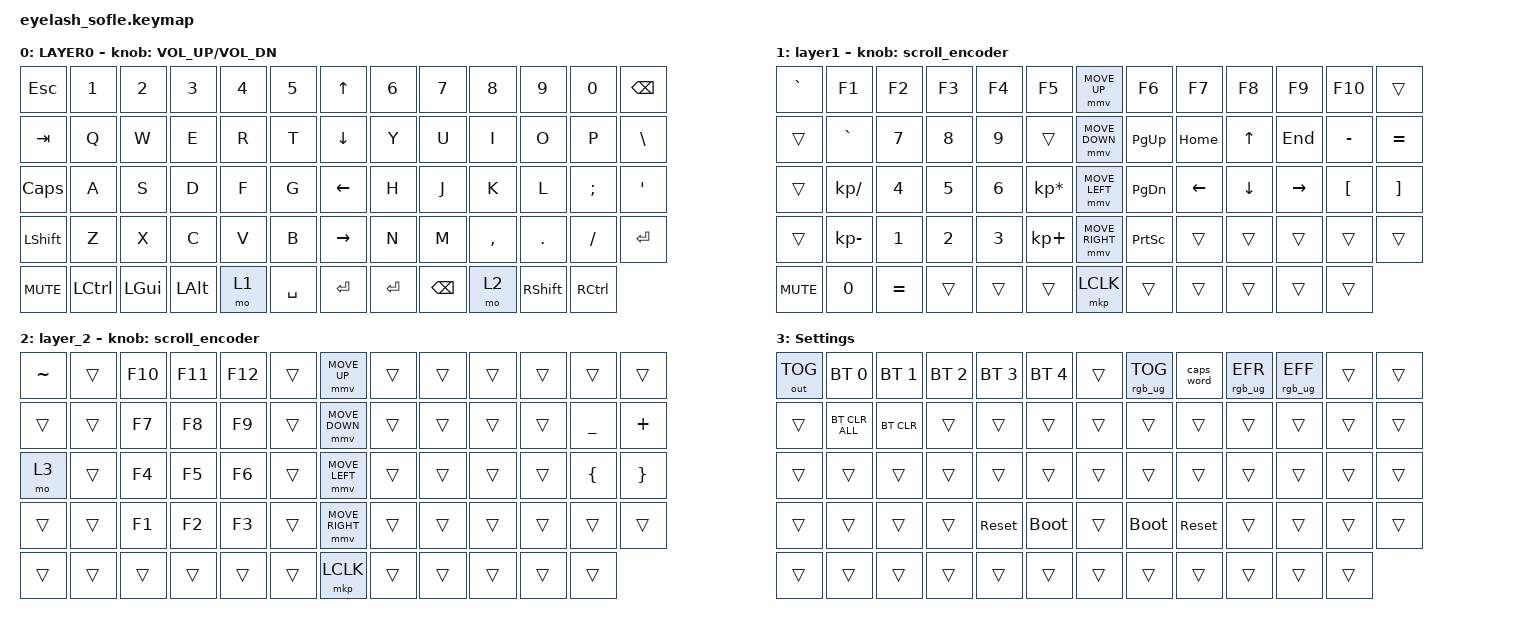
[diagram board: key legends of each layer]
#include <dt-bindings/zmk/mouse.h>
#include <input/processors.dtsi>
#include <behaviors.dtsi>
#include <dt-bindings/zmk/bt.h>
#include <dt-bindings/zmk/keys.h>
#include <dt-bindings/zmk/outputs.h>
#include <dt-bindings/zmk/pointing.h>
#include <dt-bindings/zmk/rgb.h>

/*

   &mmv_input_listener {
       input-processors = <&zip_xy_scaler 2 1>;
   };

   &msc_input_listener {
       input-processors = <&zip_xy_scaler 2 1>;
   };

 */

#define ZMK_MOUSE_DEFAULT_MOVE_VAL 1200  // 600
#define ZMK_MOUSE_DEFAULT_SCRL_VAL 20    // 10

/ {
    behaviors {
        mmv {
            acceleration-exponent = <1>;      // 1
            time-to-max-speed-ms = <900>;    // 40
            delay-ms = <0>;                   // 0
        };

        msc {
            acceleration-exponent = <1>;      // 0
            time-to-max-speed-ms = <400>;      // 500
            delay-ms = <0>;                   //   10
        };
    };

    scroll_encoder: scroll_encoder {
        compatible = "zmk,behavior-sensor-rotate";
        #sensor-binding-cells = <0>;
        bindings = <&msc SCRL_DOWN>, <&msc SCRL_UP>;

        tap-ms = <30>;
    };

    keymap {
        compatible = "zmk,keymap";

        Base {
            bindings = <
&kp ESC     &kp N1     &kp N2        &kp N3        &kp N4  &kp N5       &kp UP_ARROW     &kp N6     &kp N7         &kp N8     &kp N9           &kp N0             &kp BACKSPACE
&kp TAB     &kp Q      &kp W         &kp E         &kp R   &kp T        &kp DOWN_ARROW   &kp Y      &kp U          &kp I      &kp O            &kp P              &kp BSLH
&kp CAPS    &kp A      &kp S         &kp D         &kp F   &kp G        &kp LEFT_ARROW   &kp H      &kp J          &kp K      &kp L            &kp SEMI           &kp APOS
&kp LSHFT   &kp Z      &kp X         &kp C         &kp V   &kp B        &kp RIGHT_ARROW  &kp N      &kp M          &kp COMMA  &kp DOT          &kp FSLH           &kp ENTER
&kp C_MUTE  &kp LCTRL  &kp LEFT_GUI  &kp LEFT_ALT  &mo 1   &kp SPACE    &kp ENTER        &kp ENTER  &kp BACKSPACE  &mo 2      &kp RIGHT_SHIFT  &kp RIGHT_CONTROL
            >;

            sensor-bindings = <&inc_dec_kp C_VOLUME_UP C_VOL_DN>;
            display-name = "LAYER0";
        };

        layer_1 {
            bindings = <
&kp GRAVE   &kp F1           &kp F2        &kp F3        &kp F4        &kp F5             &mmv MOVE_UP     &kp F6           &kp F7    &kp F8    &kp F9     &kp F10           &trans
&trans      &kp GRAVE        &kp N7        &kp N8        &kp N9        &trans             &mmv MOVE_DOWN   &kp PG_UP        &kp HOME  &kp UP    &kp END    &kp MINUS         &kp EQUAL
&trans      &kp KP_DIVIDE    &kp NUMBER_4  &kp N5        &kp NUMBER_6  &kp KP_MULTIPLY    &mmv MOVE_LEFT   &kp PG_DN        &kp LEFT  &kp DOWN  &kp RIGHT  &kp LEFT_BRACKET  &kp RIGHT_BRACKET
&trans      &kp KP_SUBTRACT  &kp NUMBER_1  &kp NUMBER_2  &kp N3        &kp KP_PLUS        &mmv MOVE_RIGHT  &kp PRINTSCREEN  &trans    &trans    &trans     &trans            &trans
&kp C_MUTE  &kp N0           &kp EQUAL     &trans        &trans        &trans             &mkp LCLK        &trans           &trans    &trans    &trans     &trans
            >;

            display-name = "layer1";
            sensor-bindings = <&scroll_encoder>;
        };

        layer_2 {
            bindings = <
&kp TILDE  &trans  &kp F10  &kp F11  &kp F12  &trans    &mmv MOVE_UP     &trans  &trans  &trans  &trans  &trans     &trans
&trans     &trans  &kp F7   &kp F8   &kp F9   &trans    &mmv MOVE_DOWN   &trans  &trans  &trans  &trans  &kp UNDER  &kp PLUS
&mo 3      &trans  &kp F4   &kp F5   &kp F6   &trans    &mmv MOVE_LEFT   &trans  &trans  &trans  &trans  &kp LBRC   &kp RBRC
&trans     &trans  &kp F1   &kp F2   &kp F3   &trans    &mmv MOVE_RIGHT  &trans  &trans  &trans  &trans  &trans     &trans
&trans     &trans  &trans   &trans   &trans   &trans    &mkp LCLK        &trans  &trans  &trans  &trans  &trans
            >;

            sensor-bindings = <&scroll_encoder>;
        };

        Settings {
            bindings = <
&out OUT_TOG  &bt BT_SEL 0    &bt BT_SEL 1  &bt BT_SEL 2  &bt BT_SEL 3  &bt BT_SEL 4    &trans  &rgb_ug RGB_TOG  &caps_word  &rgb_ug RGB_EFR  &rgb_ug RGB_EFF  &trans  &trans
&trans        &bt BT_CLR_ALL  &bt BT_CLR    &trans        &trans        &trans          &trans  &trans           &trans      &trans           &trans           &trans  &trans
&trans        &trans          &trans        &trans        &trans        &trans          &trans  &trans           &trans      &trans           &trans           &trans  &trans
&trans        &trans          &trans        &trans        &sys_reset    &bootloader     &trans  &bootloader      &sys_reset  &trans           &trans           &trans  &trans
&trans        &trans          &trans        &trans        &trans        &trans          &trans  &trans           &trans      &trans           &trans           &trans
            >;
        };
    };
};
